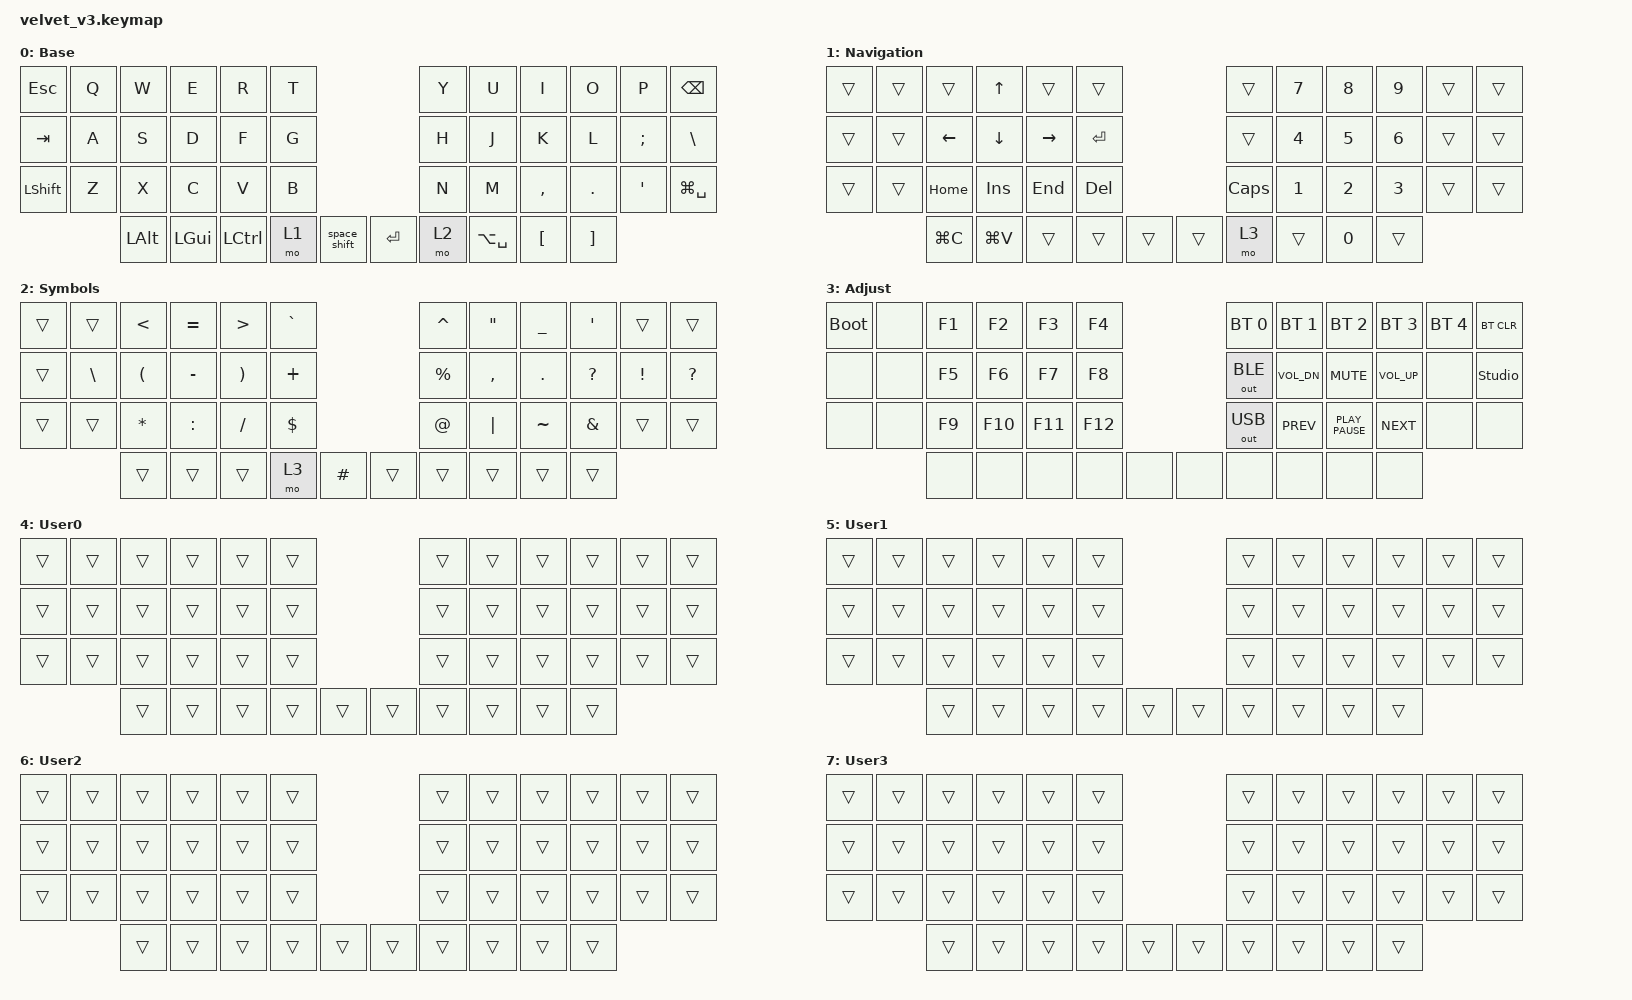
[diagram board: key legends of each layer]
#include "keys_ru.h"
#include <behaviors.dtsi>
#include <dt-bindings/zmk/bt.h>
#include <dt-bindings/zmk/keys.h>
#include <dt-bindings/zmk/outputs.h>

/ {
    behaviors {
        space_shift: space_shift {
            compatible = "zmk,behavior-tap-dance";
            label = "SPACE_SHIFT";
            #binding-cells = <0>;
            bindings = <&kp SPACE>, <&kp LEFT_SHIFT>;
        };
    };

    keymap {
        compatible = "zmk,keymap";

        base {
            bindings = <
&kp ESC    &kp Q  &kp W         &kp E     &kp R             &kp T                           &kp Y  &kp U          &kp I      &kp O     &kp P     &kp BSPC
&kp TAB    &kp A  &kp S         &kp D     &kp F             &kp G                           &kp H  &kp J          &kp K      &kp L     &kp SEMI  &kp BSLH
&kp LSHFT  &kp Z  &kp X         &kp C     &kp V             &kp B                           &kp N  &kp M          &kp COMMA  &kp DOT   &kp SQT   &kp LG(SPACE)
                  &kp LEFT_ALT  &kp LGUI  &kp LEFT_CONTROL  &mo 1  &space_shift    &kp RET  &mo 2  &kp LA(SPACE)  &kp LBKT   &kp RBKT
            >;

            display-name = "Base";
        };

        nav {
            bindings = <
&trans  &trans  &trans          &kp UP     &trans           &trans                     &trans    &kp N7        &kp N8        &kp N9        &trans  &trans
&trans  &trans  &kp LEFT_ARROW  &kp DOWN   &kp RIGHT_ARROW  &kp RET                    &trans    &kp NUMBER_4  &kp NUMBER_5  &kp NUMBER_6  &trans  &trans
&trans  &trans  &kp HOME        &kp INS    &kp END          &kp DEL                    &kp CLCK  &kp NUMBER_1  &kp NUMBER_2  &kp NUMBER_3  &trans  &trans
                &kp LG(C)       &kp LG(V)  &trans           &trans   &trans    &trans  &mo 3     &trans        &kp NUMBER_0  &trans
            >;

            display-name = "Navigation";
        };

        sym {
            bindings = <
&trans  &trans    &kp LT    &kp EQUAL  &kp GT    &kp GRAVE                      &kp CARET  &kp DQT    &kp UNDER  &kp SQT       &trans    &trans
&trans  &kp BSLH  &kp LPAR  &kp MINUS  &kp RPAR  &kp PLUS                       &kp PRCNT  &kp COMMA  &kp DOT    &kp QUESTION  &kp EXCL  &kp QUESTION
&trans  &trans    &kp STAR  &kp COLON  &kp FSLH  &kp DLLR                       &kp AT     &kp PIPE   &kp TILDE  &kp AMPS      &trans    &trans
                  &trans    &trans     &trans    &mo 3      &kp HASH    &trans  &trans     &trans     &trans     &trans
            >;

            display-name = "Symbols";
        };

        adj {
            bindings = <
&bootloader  &none  &kp F1  &kp F2   &kp F3   &kp F4                   &bt BT_SEL 0  &bt BT_SEL 1  &bt BT_SEL 2      &bt BT_SEL 3  &bt BT_SEL 4  &bt BT_CLR
&none        &none  &kp F5  &kp F6   &kp F7   &kp F8                   &out OUT_BLE  &kp C_VOL_DN  &kp K_MUTE        &kp C_VOL_UP  &none         &studio_unlock
&none        &none  &kp F9  &kp F10  &kp F11  &kp F12                  &out OUT_USB  &kp K_PREV    &kp K_PLAY_PAUSE  &kp K_NEXT    &none         &none
                    &none   &none    &none    &none    &none    &none  &none         &none         &none             &none
            >;

            display-name = "Adjust";
        };

        User0 {
            bindings = <
&trans  &trans  &trans  &trans  &trans  &trans                    &trans  &trans  &trans  &trans  &trans  &trans
&trans  &trans  &trans  &trans  &trans  &trans                    &trans  &trans  &trans  &trans  &trans  &trans
&trans  &trans  &trans  &trans  &trans  &trans                    &trans  &trans  &trans  &trans  &trans  &trans
                &trans  &trans  &trans  &trans  &trans    &trans  &trans  &trans  &trans  &trans
            >;

            display-name = "User0";
        };

        User1 {
            bindings = <
&trans  &trans  &trans  &trans  &trans  &trans                    &trans  &trans  &trans  &trans  &trans  &trans
&trans  &trans  &trans  &trans  &trans  &trans                    &trans  &trans  &trans  &trans  &trans  &trans
&trans  &trans  &trans  &trans  &trans  &trans                    &trans  &trans  &trans  &trans  &trans  &trans
                &trans  &trans  &trans  &trans  &trans    &trans  &trans  &trans  &trans  &trans
            >;

            display-name = "User1";
        };

        User2 {
            bindings = <
&trans  &trans  &trans  &trans  &trans  &trans                    &trans  &trans  &trans  &trans  &trans  &trans
&trans  &trans  &trans  &trans  &trans  &trans                    &trans  &trans  &trans  &trans  &trans  &trans
&trans  &trans  &trans  &trans  &trans  &trans                    &trans  &trans  &trans  &trans  &trans  &trans
                &trans  &trans  &trans  &trans  &trans    &trans  &trans  &trans  &trans  &trans
            >;

            display-name = "User2";
        };

        User3 {
            bindings = <
&trans  &trans  &trans  &trans  &trans  &trans                    &trans  &trans  &trans  &trans  &trans  &trans
&trans  &trans  &trans  &trans  &trans  &trans                    &trans  &trans  &trans  &trans  &trans  &trans
&trans  &trans  &trans  &trans  &trans  &trans                    &trans  &trans  &trans  &trans  &trans  &trans
                &trans  &trans  &trans  &trans  &trans    &trans  &trans  &trans  &trans  &trans
            >;

            display-name = "User3";
        };
    };
};
